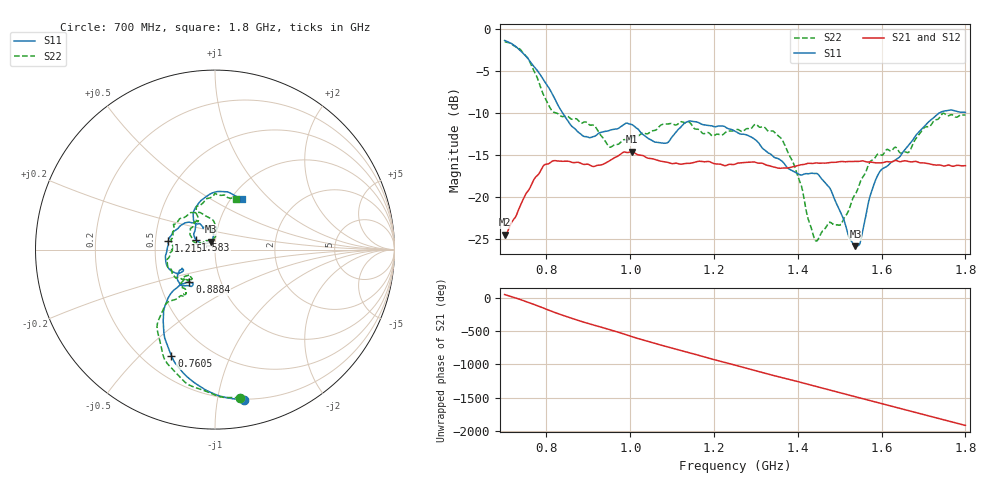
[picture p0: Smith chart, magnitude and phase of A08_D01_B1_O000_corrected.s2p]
! Created with skrf 1.9.0 (http://scikit-rf.org).
# Hz S RI R 50.0
!freq ReS11 ImS11 ReS21 ImS21 ReS12 ImS12 ReS22 ImS22
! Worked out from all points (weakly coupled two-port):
!   1601 points, 700 MHz to 1.8 GHz, reference 50 ohm
!   highest |S21| = -14.60 dB at 1.005 GHz (marker M1); lowest = -24.5 dB at 700.7 MHz (marker M2)
!   lowest |S11| = -25.8 dB at 1.537 GHz (marker M3), VSWR 1.11, Z = 47.4 + j4.28 ohm
!   |S11| at or under -10 dB: 838.1 MHz to 1.738 GHz (900.1 MHz wide, 69.9 % of centre)
!   |S22| runs from -25.2 to -1.5 dB; largest |S21 - S12| = 0.0037
!   S11 on the Smith chart (normalised r, x): 700 MHz: 0.20, -1.19; 760.5 MHz: 0.31, -0.62; 888.4 MHz: 0.71, -0.27; 1.215 GHz: 0.58, +0.06; 1.583 GHz: 0.80, +0.09; 1.8 GHz: 1.12, +0.70
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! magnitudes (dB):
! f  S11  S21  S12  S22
! 700 MHz  -1.4  -24.5  -24.2  -1.5
! 700.7 MHz  -1.4  -24.5  -24.2  -1.6
! 760.5 MHz  -3.9  -18.9  -18.8  -4.0
! 812.8 MHz  -7.7  -15.8  -15.8  -9.7
! 883.6 MHz  -12.6  -16.0  -15.9  -11.2
! 888.4 MHz  -12.8  -16.1  -16.0  -11.1
! 950.9 MHz  -12.1  -15.7  -15.7  -14.1
! 1.005 GHz  -11.4  -14.6  -14.7  -13.0
! 1.067 GHz  -13.5  -15.7  -15.6  -11.7
! 1.139 GHz  -11.0  -16.0  -16.0  -11.1
! 1.215 GHz  -11.6  -16.1  -16.1  -12.6
! 1.25 GHz  -12.2  -16.1  -16.0  -12.0
! 1.36 GHz  -15.7  -16.6  -16.6  -13.0
! 1.405 GHz  -17.4  -16.2  -16.2  -18.2
! 1.434 GHz  -17.2  -16.0  -16.0  -24.0
! 1.502 GHz  -21.7  -15.8  -15.8  -23.3
! 1.537 GHz  -25.8  -15.8  -15.8  -19.6
! 1.583 GHz  -18.3  -15.9  -15.9  -15.4
! 1.617 GHz  -16.2  -15.8  -15.8  -14.4
! 1.664 GHz  -13.9  -15.8  -15.8  -14.7
! 1.736 GHz  -10.1  -16.2  -16.2  -10.7
! 1.8 GHz  -9.9  -16.3  -16.3  -10.3
